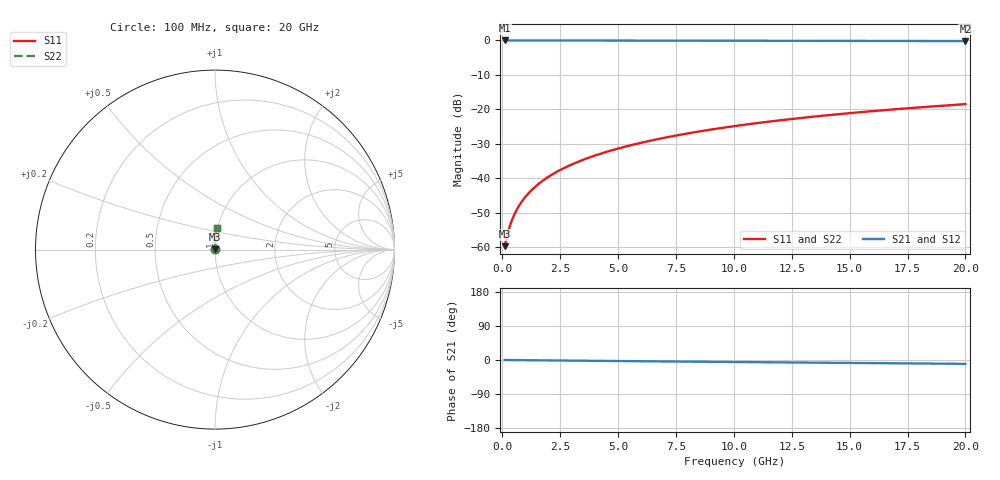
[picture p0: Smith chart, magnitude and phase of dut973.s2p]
! Touchstone file exported from HFSS 2024.1.0
!  File:  C:/UserFiles/LocalFiles/RDL_TSV_Batchsim/temp_RDL_top_973_1779938929.aedt
!  Generated:  11:31:10 AM May 28, 2026
!  Design:  RDL_top
!  Project:  temp_RDL_top_973_1779938929
!  Setup:  Setup1
!  Solution:  Sweep
! Variables:
!  dtsv = 10.80580581um
!  hbump = 3um
!  htsv = 87.55um
!  ldown = 100um
!  lrdl = 106.67um
!  p = 40
!  p1 = 49.2um
!  rhole = 1um
!  t = 450um
!  tdown = 3.915915916um
!  trdl = 2.86um
!  wdown = 15.38538539um
!  wrdl = 23.06um
# GHz S MA R 50.000000
! Terminal data exported
! Port[1] = Box2_T1
! Port[2] = Box2_T2
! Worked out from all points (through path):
!   200 points, 100 MHz to 20 GHz, reference 50 ohm
!   highest |S21| = -0.01 dB at 100 MHz (marker M1); lowest = -0.2 dB at 20 GHz (marker M2)
!   group delay of S21, straight-line fit = 1.39 ps
!   lowest |S11| = -59.6 dB at 100 MHz (marker M3), VSWR 1.00, Z = 50.1 + j0.0571 ohm
!   |S11| at or under -10 dB: start of sweep to end of sweep
!   |S22| runs from -59.6 to -18.5 dB; largest |S21 - S12| = 3.4e-15
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0.1  0.001042 33.2  0.9991 -0.1  0.9991 -0.1  0.001042 33.2
! Gamma 0 0 0 0
! Port Impedance 50 0 50 0
0.2  0.001442 51.5  0.9991 -0.1  0.9991 -0.1  0.001442 51.5
0.3  0.001912 61.0  0.9991 -0.2  0.9991 -0.2  0.001912 61.0
0.4  0.0024 66.5  0.999 -0.2  0.999 -0.2  0.0024 66.5
0.5  0.002894 70.3  0.999 -0.3  0.999 -0.3  0.002894 70.3
0.6  0.003391 73.0  0.9989 -0.3  0.9989 -0.3  0.003391 73.0
0.8  0.004392 76.8  0.9989 -0.5  0.9989 -0.5  0.004392 76.8
1.1  0.005914 80.3  0.9987 -0.6  0.9987 -0.6  0.005914 80.3
1.3  0.00694 81.9  0.9987 -0.7  0.9987 -0.7  0.00694 81.9
1.6  0.008494 83.6  0.9985 -0.9  0.9985 -0.9  0.008494 83.6
2.1  0.01112 85.5  0.9983 -1.2  0.9983 -1.2  0.01112 85.5
2.7  0.01431 87.0  0.9979 -1.5  0.9979 -1.5  0.01431 87.0
3.5  0.01866 88.3  0.9972 -2.0  0.9972 -2.0  0.01866 88.3
4.2  0.02255 89.0  0.9966 -2.3  0.9966 -2.3  0.02255 89.0
5  0.02709 89.5  0.9957 -2.8  0.9957 -2.8  0.02709 89.5
5.9  0.03231 89.8  0.9948 -3.3  0.9948 -3.3  0.03231 89.8
6.8  0.03763 89.8  0.9937 -3.7  0.9937 -3.7  0.03763 89.8
8.4  0.0473 89.6  0.9918 -4.5  0.9918 -4.5  0.0473 89.6
10.1  0.05776 89.0  0.9898 -5.4  0.9898 -5.4  0.05776 89.0
13.4  0.07831 87.4  0.9861 -7.0  0.9861 -7.0  0.07831 87.4
16.7  0.09886 85.5  0.9825 -8.6  0.9825 -8.6  0.09885 85.5
20  0.1192 83.6  0.9789 -10.1  0.9789 -10.1  0.1192 83.6
